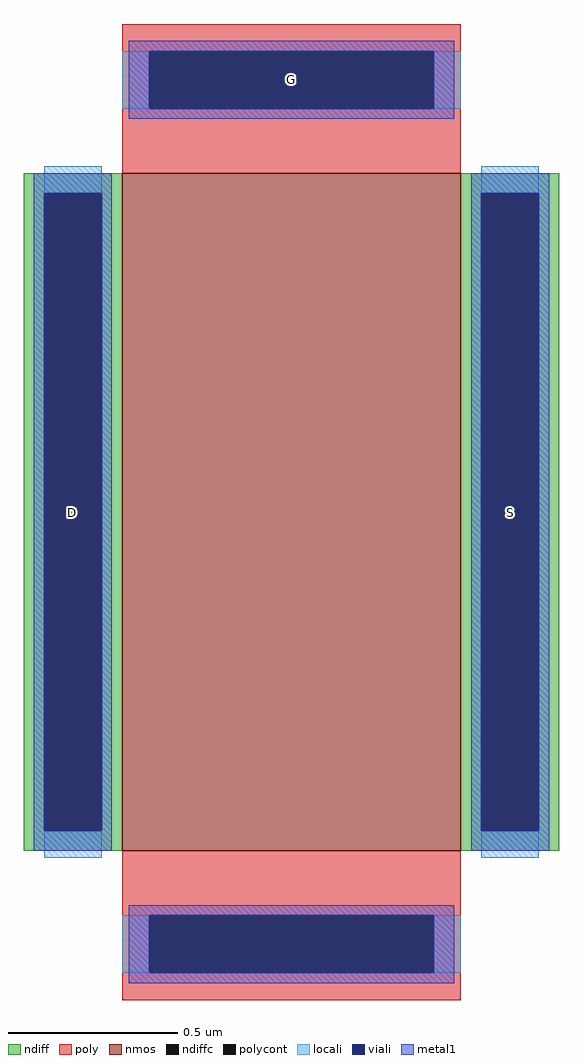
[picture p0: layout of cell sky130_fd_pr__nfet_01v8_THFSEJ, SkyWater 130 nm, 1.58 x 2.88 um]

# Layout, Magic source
magic
tech sky130A
magscale 1 2
<< nmos >>
rect -100 -200 100 200
<< ndiff >>
rect -158 188 -100 200
rect -158 -188 -146 188
rect -112 -188 -100 188
rect -158 -200 -100 -188
rect 100 188 158 200
rect 100 -188 112 188
rect 146 -188 158 188
rect 100 -200 158 -188
<< ndiffc >>
rect -146 -188 -112 188
rect 112 -188 146 188
<< poly >>
rect -100 272 100 288
rect -100 238 -84 272
rect 84 238 100 272
rect -100 200 100 238
rect -100 -238 100 -200
rect -100 -272 -84 -238
rect 84 -272 100 -238
rect -100 -288 100 -272
<< polycont >>
rect -84 238 84 272
rect -84 -272 84 -238
<< locali >>
rect -100 238 -84 272
rect 84 238 100 272
rect -146 188 -112 204
rect -146 -204 -112 -188
rect 112 188 146 204
rect 112 -204 146 -188
rect -100 -272 -84 -238
rect 84 -272 100 -238
<< viali >>
rect -84 238 84 272
rect -146 -188 -112 188
rect 112 -188 146 188
rect -84 -272 84 -238
<< metal1 >>
rect -96 272 96 278
rect -96 238 -84 272
rect 84 238 96 272
rect -96 232 96 238
rect -152 188 -106 200
rect -152 -188 -146 188
rect -112 -188 -106 188
rect -152 -200 -106 -188
rect 106 188 152 200
rect 106 -188 112 188
rect 146 -188 152 188
rect 106 -200 152 -188
rect -96 -238 96 -232
rect -96 -272 -84 -238
rect 84 -272 96 -238
rect -96 -278 96 -272
<< labels >>
rlabel ndiffc -129 0 -129 0 0 D
port 7 nsew
rlabel ndiffc 129 0 129 0 0 S
port 8 nsew
rlabel polycont 0 255 0 255 0 G
port 9 nsew
<< properties >>
string gencell sky130_fd_pr__nfet_01v8
string library sky130
string parameters w 2 l 1 m 1 nf 1 diffcov 100 polycov 100 guard 0 glc 1 grc 1 gtc 1 gbc 1 tbcov 100 rlcov 100 topc 1 botc 1 poverlap 0 doverlap 1 lmin 0.15 wmin 0.42 class mosfet compatible {sky130_fd_pr__nfet_01v8 sky130_fd_pr__nfet_01v8_lvt  sky130_fd_bs_flash__special_sonosfet_star  sky130_fd_pr__nfet_g5v0d10v5 sky130_fd_pr__nfet_05v0_nvt  sky130_fd_pr__nfet_03v3_nvt} full_metal 0 conn_gates 0 viasrc 100 viadrn 100 viagate 100 viagb 0 viagr 0 viagl 0 viagt 0 doports 1
<< end >>
